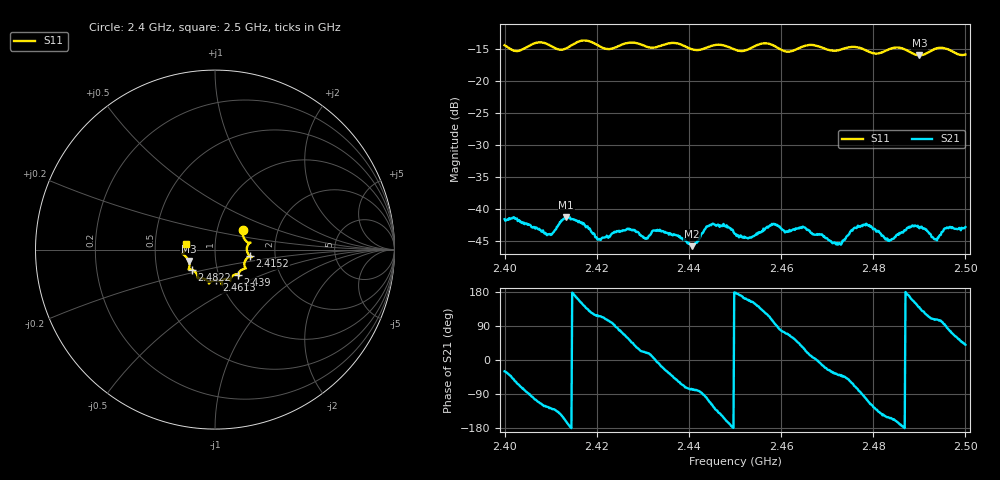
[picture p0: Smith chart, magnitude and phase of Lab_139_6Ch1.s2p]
# Hz S RI R 50
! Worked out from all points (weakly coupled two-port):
!   601 points, 2.4 GHz to 2.5 GHz, reference 50 ohm
!   highest |S21| = -41.27 dB at 2.4133 GHz (marker M1); lowest = -45.8 dB at 2.4407 GHz (marker M2)
!   lowest |S11| = -15.9 dB at 2.49 GHz (marker M3), VSWR 1.38, Z = 36.9 - j4.82 ohm
!   |S11| at or under -10 dB: start of sweep to end of sweep
!   S12 and S22 are empty: the file has one direction only
!   S11 on the Smith chart (normalised r, x): 2.4 GHz: 1.33, +0.31; 2.4152 GHz: 1.48, -0.11; 2.439 GHz: 1.24, -0.36; 2.4613 GHz: 0.96, -0.34; 2.4822 GHz: 0.76, -0.17; 2.5 GHz: 0.72, +0.05
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2.4e9  0.1562 0.1115  0.00721 -0.00415  0 0  0 0
2.409667e9  0.1899 0.0343  -0.00382 -0.00508  0 0  0 0
2.413333e9  0.1807 -0.015  -0.00823 -0.00264  0 0  0 0
2.415167e9  0.1945 -0.0362  -0.00809 0.00132  0 0  0 0
2.416667e9  0.2041 -0.0419  -0.00679 0.0037  0 0  0 0
2.4205e9  0.1841 -0.0442  -0.00252 0.00525  0 0  0 0
2.433333e9  0.1327 -0.1322  0.00677 -0.000824  0 0  0 0
2.439e9  0.1283 -0.1391  0.00209 -0.00546  0 0  0 0
2.440667e9  0.1128 -0.1384  0.00113 -0.00499  0 0  0 0
2.445e9  0.0842 -0.1705  -0.0035 -0.00675  0 0  0 0
2.45e9  0.0688 -0.1635  -0.00637 0.000386  0 0  0 0
2.453167e9  0.0379 -0.1763  -0.00552 0.00233  0 0  0 0
2.458333e9  0.0378 -0.1877  -0.00138 0.00752  0 0  0 0
2.461333e9  0.00766 -0.1709  0.00233 0.00619  0 0  0 0
2.466667e9  -0.0335 -0.1901  0.00641 0.00102  0 0  0 0
2.4725e9  -0.0715 -0.1603  0.00409 -0.00343  0 0  0 0
2.478333e9  -0.0979 -0.1457  -0.00136 -0.00732  0 0  0 0
2.482167e9  -0.1283 -0.1119  -0.00497 -0.00365  0 0  0 0
2.483333e9  -0.1397 -0.1103  -0.00504 -0.00275  0 0  0 0
2.49e9  -0.1468 -0.0636  -0.00537 0.0046  0 0  0 0
2.4935e9  -0.1785 -0.0256  -0.00171 0.00554  0 0  0 0
2.5e9  -0.1588 0.0336  0.0055 0.00467  0 0  0 0
